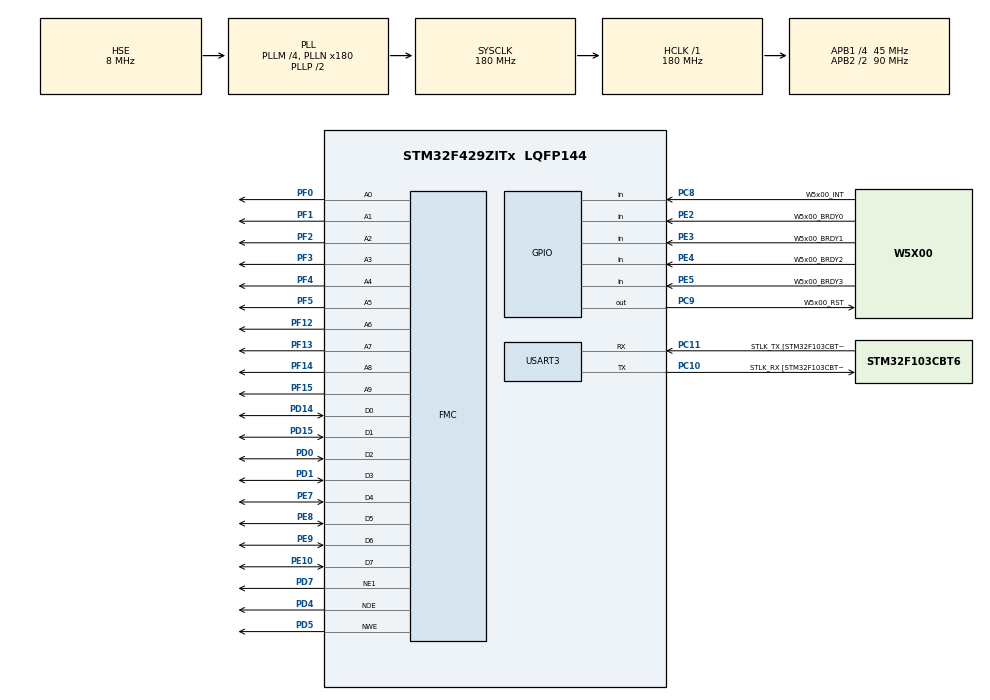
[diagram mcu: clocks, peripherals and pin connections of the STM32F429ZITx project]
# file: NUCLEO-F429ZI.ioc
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FMC.WriteOperation1=FMC_WRITE_OPERATION_ENABLE
Mcu.Family=STM32F4
Mcu.Name=STM32F429ZITx
Mcu.Package=LQFP144
NVIC.PriorityGroup=NVIC_PRIORITYGROUP_4
PA13.GPIO_Label=TMS
PA13.Mode=Serial_Wire
PA13.Signal=SYS_JTMS-SWDIO
PA14.GPIO_Label=TCK
PA14.Mode=Serial_Wire
PA14.Signal=SYS_JTCK-SWCLK
PC10.GPIO_Label=STLK_RX [STM32F103CBT6_PA3]
PC10.Mode=Asynchronous
PC10.Signal=USART3_TX
PC11.GPIO_Label=STLK_TX [STM32F103CBT6_PA2]
PC11.Mode=Asynchronous
PC11.Signal=USART3_RX
PC14/OSC32_IN.Mode=LSE-External-Oscillator
PC14/OSC32_IN.Signal=RCC_OSC32_IN
PC15/OSC32_OUT.Mode=LSE-External-Oscillator
PC15/OSC32_OUT.Signal=RCC_OSC32_OUT
PC8.GPIO_Label=W5x00_INT
PC8.Signal=GPIO_Input
PC9.GPIO_Label=W5x00_RST
PC9.GPIO_PuPd=GPIO_PULLUP
PC9.PinState=GPIO_PIN_SET
PC9.Signal=GPIO_Output
PD0.Signal=FMC_D2_DA2
PD1.Signal=FMC_D3_DA3
PD14.Signal=FMC_D0_DA0
PD15.Signal=FMC_D1_DA1
PD4.Signal=FMC_NOE
PD5.Signal=FMC_NWE
PD7.Mode=NorPsramChipSelect1_1
PD7.Signal=FMC_NE1
PE10.Signal=FMC_D7_DA7
PE2.GPIO_Label=W5x00_BRDY0
PE2.Signal=GPIO_Input
PE3.GPIO_Label=W5x00_BRDY1
PE3.Signal=GPIO_Input
PE4.GPIO_Label=W5x00_BRDY2
PE4.Signal=GPIO_Input
PE5.GPIO_Label=W5x00_BRDY3
PE5.Signal=GPIO_Input
PE7.Signal=FMC_D4_DA4
PE8.Signal=FMC_D5_DA5
PE9.Signal=FMC_D6_DA6
PF0.Signal=FMC_A0
PF1.Signal=FMC_A1
PF12.Signal=FMC_A6
PF13.Signal=FMC_A7
PF14.Signal=FMC_A8
PF15.Signal=FMC_A9
PF2.Signal=FMC_A2
PF3.Signal=FMC_A3
PF4.Signal=FMC_A4
PF5.Signal=FMC_A5
PH0/OSC_IN.GPIO_Label=MCO [STM32F103CBT6_PA8]
PH0/OSC_IN.Mode=HSE-External-Clock-Source
PH0/OSC_IN.Signal=RCC_OSC_IN
PH1/OSC_OUT.Mode=HSE-External-Clock-Source
PH1/OSC_OUT.Signal=RCC_OSC_OUT
ProjectManager.HeapSize=0x10000
ProjectManager.StackSize=0x8000
ProjectManager.TargetToolchain=STM32CubeIDE
RCC.48MHZClocksFreq_Value=51428571.428571425
RCC.AHBFreq_Value=180000000
RCC.APB1CLKDivider=RCC_HCLK_DIV4
RCC.APB1Freq_Value=45000000
RCC.APB1TimFreq_Value=90000000
RCC.APB2CLKDivider=RCC_HCLK_DIV2
RCC.APB2Freq_Value=90000000
RCC.APB2TimFreq_Value=180000000
RCC.CortexFreq_Value=180000000
RCC.HCLKFreq_Value=180000000
RCC.HSE_VALUE=8000000
RCC.HSI_VALUE=16000000
RCC.PLLM=4
RCC.PLLMUL=RCC_PLL_MUL9
RCC.PLLN=180
RCC.PLLQ=7
RCC.PLLSourceVirtual=RCC_PLLSOURCE_HSE
RCC.PRESCALERUSB=RCC_USBCLKSOURCE_PLL_DIV1_5
RCC.SYSCLKFreq_VALUE=180000000
RCC.SYSCLKSource=RCC_SYSCLKSOURCE_PLLCLK
RCC.SYSCLKSourceVirtual=RCC_SYSCLKSOURCE_PLLCLK
RCC.USBFreq_Value=48000000
RCC.VCOOutputFreq_Value=360000000
SH.FMC_A0.0=FMC_A0,10b-a1
SH.FMC_A1.0=FMC_A1,10b-a1
SH.FMC_A2.0=FMC_A2,10b-a1
SH.FMC_A3.0=FMC_A3,10b-a1
SH.FMC_A4.0=FMC_A4,10b-a1
SH.FMC_A5.0=FMC_A5,10b-a1
SH.FMC_A6.0=FMC_A6,10b-a1
SH.FMC_A7.0=FMC_A7,10b-a1
SH.FMC_A8.0=FMC_A8,10b-a1
SH.FMC_A9.0=FMC_A9,10b-a1
SH.FMC_D0_DA0.0=FMC_D0,8b-d1
SH.FMC_D1_DA1.0=FMC_D1,8b-d1
SH.FMC_D2_DA2.0=FMC_D2,8b-d1
SH.FMC_D3_DA3.0=FMC_D3,8b-d1
SH.FMC_D4_DA4.0=FMC_D4,8b-d1
SH.FMC_D5_DA5.0=FMC_D5,8b-d1
SH.FMC_D6_DA6.0=FMC_D6,8b-d1
SH.FMC_D7_DA7.0=FMC_D7,8b-d1
SH.FMC_NOE.0=FMC_NOE,Sram1
SH.FMC_NWE.0=FMC_NWE,Sram1
USART3.VirtualMode=VM_ASYNC
board=NUCLEO-F429ZI

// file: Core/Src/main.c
/* USER CODE BEGIN Header */
/**
  ******************************************************************************
  * @file           : main.c
  * @brief          : Main program body
  ******************************************************************************
  * @attention
  *
  * Copyright (c) 2023 STMicroelectronics.
  * All rights reserved.
  *
  * This software is licensed under terms that can be found in the LICENSE file
  * in the root directory of this software component.
  * If no LICENSE file comes with this software, it is provided AS-IS.
  *
  ******************************************************************************
  */
/* USER CODE END Header */
#include "main.h"

/* USER CODE BEGIN Includes */
#include <stdio.h>
#include "socket.h"
#include "wizchip_conf.h"
#include "w5x00_network.h"
#include "loopback.h"
/* USER CODE END Includes */

/* USER CODE BEGIN PD */
#define LOOPBACK_SOCKET 0
#define LOOPBACK_PORT   5000

#define DATA_BUF_SIZE 2048

/* USER CODE END PD */

/* USER CODE BEGIN PM */
#ifdef __GNUC__
/* With GCC/RAISONANCE, small printf (option LD Linker->Libraries->Small printf set to 'Yes') calls __io_putchar() */
#define PUTCHAR_PROTOTYPE int __io_putchar(int ch)
#else
#define PUTCHAR_PROTOTYPE int fputc(int ch, FILE *f)
#endif /* __GNUC__ */
/* USER CODE END PM */

UART_HandleTypeDef huart3;

SRAM_HandleTypeDef hsram1;

/* USER CODE BEGIN PV */
wiz_NetInfo net_info =
  {
      .mac = {0x00, 0x08, 0xDC, 0x01, 0x02, 0x03}, // MAC address
      .ip = {192, 168, 11, 10},                     // IP address
      .sn = {255, 255, 255, 0},                    // Subnet Mask
      .gw = {192, 168, 11, 1},                     // Gateway
      .dns = {8, 8, 8, 8},                         // DNS server
#ifdef APP_DHCP
      .dhcp = NETINFO_DHCP                         // Dynamic IP
#else
      .dhcp = NETINFO_STATIC                       // Static IP
#endif
  };
uint8_t g_eth_buf[DATA_BUF_SIZE];
uint8_t dest_ip[4] = {192, 168, 11, 20};

/* USER CODE END PV */

void SystemClock_Config(void);
static void MX_GPIO_Init(void);
static void MX_USART3_UART_Init(void);
static void MX_FMC_Init(void);
/* USER CODE BEGIN PFP */
/**
 * @brief  Retargets the C library printf function to the USART.
 * @param  None
 * @retval None
 */
PUTCHAR_PROTOTYPE
{
  /* Place your implementation of fputc here */
  /* e.g. write a character to the USART3 and Loop until the end of transmission */
  HAL_UART_Transmit(&huart3, (uint8_t *)&ch, 1, 0xFF);

  return ch;
}

/* USER CODE END PFP */

int main(void)
{

  /* MCU Configuration--------------------------------------------------------*/

  /* Reset of all peripherals, Initializes the Flash interface and the Systick. */
  HAL_Init();

  /* Configure the system clock */
  SystemClock_Config();

  /* Initialize all configured peripherals */
  MX_GPIO_Init();
  MX_USART3_UART_Init();
  MX_FMC_Init();
  /* USER CODE BEGIN 2 */

  wizchip_network_initialize(&net_info);
  wizchip_network_information(&net_info);

  /* USER CODE END 2 */

  /* Infinite loop */
  while (1)
  {

    /* USER CODE BEGIN 3 */
    //loopback_tcps(LOOPBACK_SOCKET, g_eth_buf, LOOPBACK_PORT);
    loopback_tcpc(LOOPBACK_SOCKET, g_eth_buf, dest_ip, LOOPBACK_PORT);
  }
  /* USER CODE END 3 */
}

void SystemClock_Config(void)
{
  RCC_OscInitTypeDef RCC_OscInitStruct = {0};
  RCC_ClkInitTypeDef RCC_ClkInitStruct = {0};

  /** Configure the main internal regulator output voltage
  */
  __HAL_RCC_PWR_CLK_ENABLE();
  __HAL_PWR_VOLTAGESCALING_CONFIG(PWR_REGULATOR_VOLTAGE_SCALE1);

  /** Initializes the RCC Oscillators according to the specified parameters
  * in the RCC_OscInitTypeDef structure.
  */
  RCC_OscInitStruct.OscillatorType = RCC_OSCILLATORTYPE_HSE;
  RCC_OscInitStruct.HSEState = RCC_HSE_BYPASS;
  RCC_OscInitStruct.PLL.PLLState = RCC_PLL_ON;
  RCC_OscInitStruct.PLL.PLLSource = RCC_PLLSOURCE_HSE;
  RCC_OscInitStruct.PLL.PLLM = 4;
  RCC_OscInitStruct.PLL.PLLN = 180;
  RCC_OscInitStruct.PLL.PLLP = RCC_PLLP_DIV2;
  RCC_OscInitStruct.PLL.PLLQ = 7;
  if (HAL_RCC_OscConfig(&RCC_OscInitStruct) != HAL_OK)
  {
    Error_Handler();
  }

  /** Activate the Over-Drive mode
  */
  if (HAL_PWREx_EnableOverDrive() != HAL_OK)
  {
    Error_Handler();
  }

  /** Initializes the CPU, AHB and APB buses clocks
  */
  RCC_ClkInitStruct.ClockType = RCC_CLOCKTYPE_HCLK|RCC_CLOCKTYPE_SYSCLK
                              |RCC_CLOCKTYPE_PCLK1|RCC_CLOCKTYPE_PCLK2;
  RCC_ClkInitStruct.SYSCLKSource = RCC_SYSCLKSOURCE_PLLCLK;
  RCC_ClkInitStruct.AHBCLKDivider = RCC_SYSCLK_DIV1;
  RCC_ClkInitStruct.APB1CLKDivider = RCC_HCLK_DIV4;
  RCC_ClkInitStruct.APB2CLKDivider = RCC_HCLK_DIV2;

  if (HAL_RCC_ClockConfig(&RCC_ClkInitStruct, FLASH_LATENCY_5) != HAL_OK)
  {
    Error_Handler();
  }
}

static void MX_USART3_UART_Init(void)
{

  huart3.Instance = USART3;
  huart3.Init.BaudRate = 115200;
  huart3.Init.WordLength = UART_WORDLENGTH_8B;
  huart3.Init.StopBits = UART_STOPBITS_1;
  huart3.Init.Parity = UART_PARITY_NONE;
  huart3.Init.Mode = UART_MODE_TX_RX;
  huart3.Init.HwFlowCtl = UART_HWCONTROL_NONE;
  huart3.Init.OverSampling = UART_OVERSAMPLING_16;
  if (HAL_UART_Init(&huart3) != HAL_OK)
  {
    Error_Handler();
  }

}

/* FMC initialization function */
static void MX_FMC_Init(void)
{

  FMC_NORSRAM_TimingTypeDef Timing = {0};

  /** Perform the SRAM1 memory initialization sequence
  */
  hsram1.Instance = FMC_NORSRAM_DEVICE;
  hsram1.Extended = FMC_NORSRAM_EXTENDED_DEVICE;
  /* hsram1.Init */
  hsram1.Init.NSBank = FMC_NORSRAM_BANK1;
  hsram1.Init.DataAddressMux = FMC_DATA_ADDRESS_MUX_DISABLE;
  hsram1.Init.MemoryType = FMC_MEMORY_TYPE_SRAM;
  hsram1.Init.MemoryDataWidth = FMC_NORSRAM_MEM_BUS_WIDTH_8;
  hsram1.Init.BurstAccessMode = FMC_BURST_ACCESS_MODE_DISABLE;
  hsram1.Init.WaitSignalPolarity = FMC_WAIT_SIGNAL_POLARITY_LOW;
  hsram1.Init.WrapMode = FMC_WRAP_MODE_DISABLE;
  hsram1.Init.WaitSignalActive = FMC_WAIT_TIMING_BEFORE_WS;
  hsram1.Init.WriteOperation = FMC_WRITE_OPERATION_ENABLE;
  hsram1.Init.WaitSignal = FMC_WAIT_SIGNAL_DISABLE;
  hsram1.Init.ExtendedMode = FMC_EXTENDED_MODE_DISABLE;
  hsram1.Init.AsynchronousWait = FMC_ASYNCHRONOUS_WAIT_DISABLE;
  hsram1.Init.WriteBurst = FMC_WRITE_BURST_DISABLE;
  hsram1.Init.ContinuousClock = FMC_CONTINUOUS_CLOCK_SYNC_ONLY;
  hsram1.Init.PageSize = FMC_PAGE_SIZE_NONE;
  /* Timing */
  Timing.AddressSetupTime = 15;
  Timing.AddressHoldTime = 15;
  Timing.DataSetupTime = 255;
  Timing.BusTurnAroundDuration = 15;
  Timing.CLKDivision = 16;
  Timing.DataLatency = 17;
  Timing.AccessMode = FMC_ACCESS_MODE_A;
  /* ExtTiming */

  if (HAL_SRAM_Init(&hsram1, &Timing, NULL) != HAL_OK)
  {
    Error_Handler( );
  }

  /* USER CODE BEGIN FMC_Init 2 */
  // overwrite
  Timing.AddressSetupTime = 1;
  Timing.AddressHoldTime = 1;
  Timing.DataSetupTime = 6;
  Timing.BusTurnAroundDuration = 0;
  Timing.CLKDivision = 2;
  Timing.DataLatency = 2;
  Timing.AccessMode = FMC_ACCESS_MODE_A;

  if (HAL_SRAM_Init(&hsram1, &Timing, NULL) != HAL_OK)
  {
    Error_Handler();
  }
  /* USER CODE END FMC_Init 2 */
}

static void MX_GPIO_Init(void)
{
  GPIO_InitTypeDef GPIO_InitStruct = {0};

  /* GPIO Ports Clock Enable */
  __HAL_RCC_GPIOE_CLK_ENABLE();
  __HAL_RCC_GPIOC_CLK_ENABLE();
  __HAL_RCC_GPIOF_CLK_ENABLE();
  __HAL_RCC_GPIOH_CLK_ENABLE();
  __HAL_RCC_GPIOD_CLK_ENABLE();
  __HAL_RCC_GPIOA_CLK_ENABLE();

  /*Configure GPIO pin Output Level */
  HAL_GPIO_WritePin(W5x00_RST_GPIO_Port, W5x00_RST_Pin, GPIO_PIN_SET);

  /*Configure GPIO pins : W5x00_BRDY0_Pin W5x00_BRDY1_Pin W5x00_BRDY2_Pin W5x00_BRDY3_Pin */
  GPIO_InitStruct.Pin = W5x00_BRDY0_Pin|W5x00_BRDY1_Pin|W5x00_BRDY2_Pin|W5x00_BRDY3_Pin;
  GPIO_InitStruct.Mode = GPIO_MODE_INPUT;
  GPIO_InitStruct.Pull = GPIO_NOPULL;
  HAL_GPIO_Init(GPIOE, &GPIO_InitStruct);

  /*Configure GPIO pin : W5x00_INT_Pin */
  GPIO_InitStruct.Pin = W5x00_INT_Pin;
  GPIO_InitStruct.Mode = GPIO_MODE_INPUT;
  GPIO_InitStruct.Pull = GPIO_NOPULL;
  HAL_GPIO_Init(W5x00_INT_GPIO_Port, &GPIO_InitStruct);

  /*Configure GPIO pin : W5x00_RST_Pin */
  GPIO_InitStruct.Pin = W5x00_RST_Pin;
  GPIO_InitStruct.Mode = GPIO_MODE_OUTPUT_PP;
  GPIO_InitStruct.Pull = GPIO_PULLUP;
  GPIO_InitStruct.Speed = GPIO_SPEED_FREQ_LOW;
  HAL_GPIO_Init(W5x00_RST_GPIO_Port, &GPIO_InitStruct);

}

void Error_Handler(void)
{
  __disable_irq();
  while (1)
  {
  }
}
